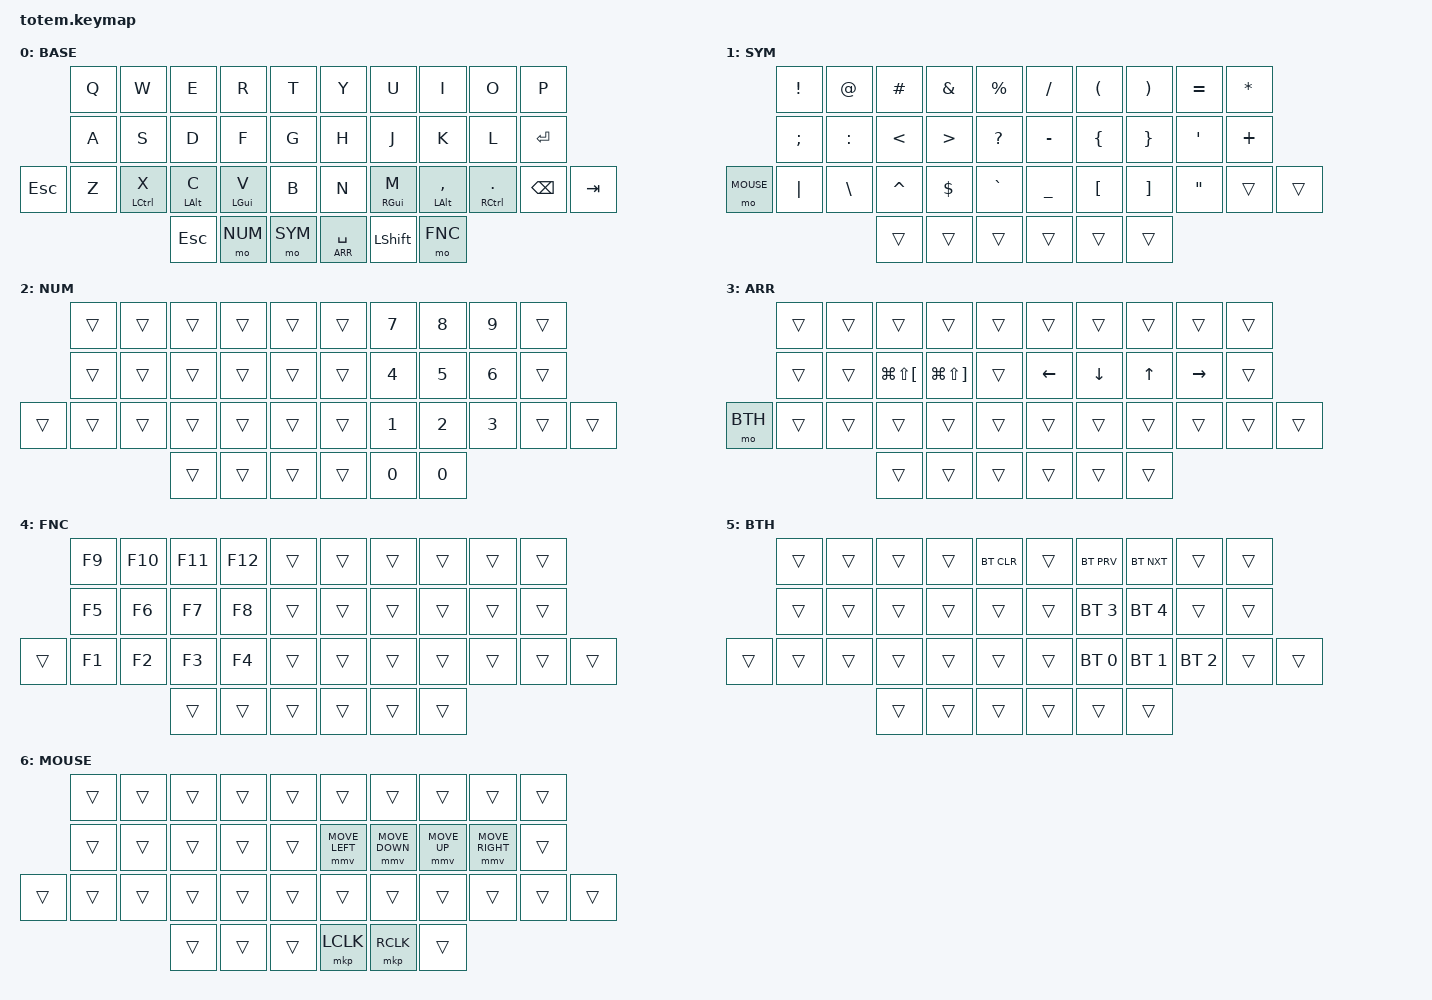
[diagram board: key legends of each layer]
//
//                                                        ▀▀▀▀▀     ▀▀▀▀▀          ▀▀█▀▀
//                                                        ▄▀▀▀▄  ▄  ▄▀▀▀▄  ▄  ▄▀▀▀▄  █  ▄▀▀▀▄
//                                                        █   █  █  █   █  █  █   █  █  █   █
//                                                         ▀▀▀   █   ▀▀▀   █   ▀▀▀   ▀   ▀▀▀
//                                                               █      ▄▄▄█▄▄▄    █   █  
//                                                               ▀      █  █  █     █▄█
//                                                             ▀▀▀▀▀    █  █  █      ▀
//                                                                      ▀  ▀  ▀
//
// ▄▄▄▄▄▄▄▄▄▄▄▄▄▄▄▄▄▄▄▄▄▄▄▄▄▄▄▄▄▄▄▄▄▄▄▄▄▄▄▄▄▄▄▄▄▄▄▄▄▄▄▄▄▄▄▄▄▄▄▄▄▄▄▄▄▄▄▄▄▄▄▄▄▄▄▄▄▄▄▄▄▄▄▄▄▄▄▄▄▄▄▄▄▄▄▄▄▄▄▄▄▄▄▄▄▄▄▄▄▄▄▄▄▄▄▄▄▄▄▄▄▄▄▄▄▄▄▄▄▄▄▄▄▄▄▄▄▄▄▄▄▄▄▄▄▄▄▄▄
       

#include <behaviors.dtsi>
#include <dt-bindings/zmk/keys.h>
#include <dt-bindings/zmk/bt.h>
#include <dt-bindings/zmk/outputs.h>
#include <dt-bindings/zmk/mouse.h>

#define BASE 0
#define SYM  1
#define NUM  2
#define ARR  3
#define FNC  4
#define BTH  5
#define MOUSE 6


&mt {
  quick-tap-ms = <100>;
  global-quick-tap;
  flavor = "tap-preferred";
  tapping-term-ms = <170>;
};

/ {
    combos {
            compatible = "zmk,combos";
            combo_esc {
                timeout-ms = <50>;
                key-positions = <0 1>;
                bindings = <&kp ESC>;
            };
    };

    macros {
        gif: gif {
            label = "giphy";
            compatible = "zmk,behavior-macro";
            #binding-cells = <0>;
            bindings
                = <&macro_press &kp LSHFT>
                , <&macro_tap &kp N2>
                , <&macro_release &kp LSHFT>
                , <&macro_tap &kp G &kp I &kp F>
                ;
        };
    };

        keymap {
                compatible = "zmk,keymap";
// ▄▄▄▄▄▄▄▄▄▄▄▄▄▄▄▄▄▄▄▄▄▄▄▄▄▄▄▄▄▄▄▄▄▄▄▄▄▄▄▄▄▄▄▄▄▄▄▄▄▄▄▄▄▄▄▄▄▄▄▄▄▄▄▄▄▄▄▄▄▄▄▄▄▄▄▄▄▄▄▄▄▄▄▄▄▄▄▄▄▄▄▄▄▄▄▄▄▄▄▄▄▄▄▄▄▄▄▄▄▄▄▄▄▄▄▄▄▄▄▄▄▄▄▄▄▄▄▄▄▄▄▄▄▄▄▄▄▄▄▄▄▄▄▄▄▄▄▄▄

                base_layer {
// ┏━━━━━━━━━━━━━━━━━━━━━━━━━━━━━━━━━━━━━━━┓
label= "BASE"                              ;
// ┗━━━━━━━━━━━━━━━━━━━━━━━━━━━━━━━━━━━━━━━┛
//             ┏━━━━━━━━━━━┳━━━━━━━━━━━┳━━━━━━━━━━━┳━━━━━━━━━━━┳━━━━━━━━━━━┓   ┏━━━━━━━━━━━┳━━━━━━━━━━━┳━━━━━━━━━━━┳━━━━━━━━━━━┳━━━━━━━━━━━┓
//             ┃     Q     ┃     W     ┃     F     ┃     P     ┃     G     ┃   ┃     J     ┃     L     ┃     U     ┃     Y     ┃     ;     ┃
//             ┣━━━━━━━━━━━╋━━━━━━━━━━━╋━━━━━━━━━━━╋━━━━━━━━━━━╋━━━━━━━━━━━┫   ┣━━━━━━━━━━━╋━━━━━━━━━━━╋━━━━━━━━━━━╋━━━━━━━━━━━╋━━━━━━━━━━━┫
//             ┃     A     ┃     R     ┃     S     ┃     T     ┃     D     ┃   ┃     H     ┃     N     ┃     E     ┃     I     ┃     O     ┃
// ┏━━━━━━━━━━━╋━━━━━━━━━━━╋━━━━━━━━━━━╋━━━━━━━━━━━╋━━━━━━━━━━━╋━━━━━━━━━━━┫   ┣━━━━━━━━━━━╋━━━━━━━━━━━╋━━━━━━━━━━━╋━━━━━━━━━━━╋━━━━━━━━━━━╋━━━━━━━━━━━┓
// ┃           ┃     Z     ┃     X     ┃     C     ┃     V     ┃     B     ┃   ┃     K     ┃     M     ┃     ,     ┃     .     ┃     /     ┃           ┃
// ┗━━━━━━━━━━━┻━━━━━━━━━━━┻━━━━━━━━━━━╋━━━━━━━━━━━╋━━━━━━━━━━━╋━━━━━━━━━━━┫   ┣━━━━━━━━━━━╋━━━━━━━━━━━╋━━━━━━━━━━━╋━━━━━━━━━━━┻━━━━━━━━━━━┻━━━━━━━━━━━┛
//                                     ┃           ┃    TAB    ┃    SPC    ┃   ┃   ENTER   ┃   BSPC    ┃           ┃
//                                     ┗━━━━━━━━━━━┻━━━━━━━━━━━┻━━━━━━━━━━━┛   ┗━━━━━━━━━━━┻━━━━━━━━━━━┻━━━━━━━━━━━┛
 bindings = <
// ╷           ╷           ╷           ╷           ╷           ╷           ╷   ╷           ╷           ╷           ╷           ╷           ╷           ╷

                &kp Q       &kp W       &kp E       &kp R       &kp T           &kp Y       &kp U       &kp I       &kp O       &kp P
                &kp A       &kp S       &kp D       &kp F       &kp G           &kp H       &kp J       &kp K       &kp L       &kp RET    
    &kp ESC     &kp Z       &mt LCTRL X &mt LALT C  &mt LGUI V  &kp B           &kp N       &mt RGUI M  &mt LALT COMMA &mt RCTRL DOT  &kp BSPC  &kp TAB
                                        &kp ESC     &mo NUM     &mo SYM         &lt ARR SPACE  &kp LSHFT  &mo FNC
                        >;
                };

// ▄▄▄▄▄▄▄▄▄▄▄▄▄▄▄▄▄▄▄▄▄▄▄▄▄▄▄▄▄▄▄▄▄▄▄▄▄▄▄▄▄▄▄▄▄▄▄▄▄▄▄▄▄▄▄▄▄▄▄▄▄▄▄▄▄▄▄▄▄▄▄▄▄▄▄▄▄▄▄▄▄▄▄▄▄▄▄▄▄▄▄▄▄▄▄▄▄▄▄▄▄▄▄▄▄▄▄▄▄▄▄▄▄▄▄▄▄▄▄▄▄▄▄▄▄▄▄▄▄▄▄▄▄▄▄▄▄▄▄▄▄▄▄▄▄▄▄▄▄


                sym_layer {
// ┏━━━━━━━━━━━━━━━━━━━━━━━━━━━━━━━━━━━━━━━┓
label= "SYM"                              ;
// ┗━━━━━━━━━━━━━━━━━━━━━━━━━━━━━━━━━━━━━━━┛
//             ┏━━━━━━━━━━━┳━━━━━━━━━━━┳━━━━━━━━━━━┳━━━━━━━━━━━┳━━━━━━━━━━━┓   ┏━━━━━━━━━━━┳━━━━━━━━━━━┳━━━━━━━━━━━┳━━━━━━━━━━━┳━━━━━━━━━━━┓
//             ┃           ┃           ┃     UP    ┃           ┃     {     ┃   ┃     }     ┃     7     ┃     8     ┃     9     ┃     +     ┃
//             ┣━━━━━━━━━━━╋━━━━━━━━━━━╋━━━━━━━━━━━╋━━━━━━━━━━━╋━━━━━━━━━━━┫   ┣━━━━━━━━━━━╋━━━━━━━━━━━╋━━━━━━━━━━━╋━━━━━━━━━━━╋━━━━━━━━━━━┫
//             ┃   SHIFT   ┃   LEFT    ┃    DOWN   ┃   RIGHT   ┃     [     ┃   ┃     ]     ┃     4     ┃     5     ┃     6     ┃     -     ┃
// ┏━━━━━━━━━━━╋━━━━━━━━━━━╋━━━━━━━━━━━╋━━━━━━━━━━━╋━━━━━━━━━━━╋━━━━━━━━━━━┫   ┣━━━━━━━━━━━╋━━━━━━━━━━━╋━━━━━━━━━━━╋━━━━━━━━━━━╋━━━━━━━━━━━╋━━━━━━━━━━━┓
// ┃           ┃           ┃   P UP    ┃  C LOCK   ┃  P DOWN   ┃     (     ┃   ┃     )     ┃     1     ┃     2     ┃     3     ┃     *     ┃           ┃
// ┗━━━━━━━━━━━┻━━━━━━━━━━━┻━━━━━━━━━━━╋━━━━━━━━━━━╋━━━━━━━━━━━╋━━━━━━━━━━━┫   ┣━━━━━━━━━━━╋━━━━━━━━━━━╋━━━━━━━━━━━╋━━━━━━━━━━━┻━━━━━━━━━━━┻━━━━━━━━━━━┛
//                                     ┃           ┃    TAB    ┃    SPC    ┃   ┃    DEL    ┃     0     ┃           ┃
//                                     ┗━━━━━━━━━━━┻━━━━━━━━━━━┻━━━━━━━━━━━┛   ┗━━━━━━━━━━━┻━━━━━━━━━━━┻━━━━━━━━━━━┛
 bindings = <
// ╷           ╷           ╷           ╷           ╷           ╷           ╷   ╷           ╷           ╷           ╷           ╷           ╷           ╷

                &kp EXCL    &kp AT      &kp HASH    &kp AMPS    &kp PRCNT       &kp SLASH   &kp LPAR    &kp RPAR    &kp EQUAL   &kp ASTRK
                &kp SEMI    &kp COLON   &kp LT      &kp GT      &kp QMARK       &kp MINUS   &kp LBRC    &kp RBRC    &kp SQT     &kp PLUS
    &mo MOUSE   &kp PIPE    &kp BSLH    &kp CARET   &kp DLLR    &kp GRAVE       &kp UNDER   &kp LBKT    &kp RBKT    &kp DQT   &trans    &trans      
                                        &trans      &trans      &trans          &trans     &trans   &trans      
                        >;
                };

// ▄▄▄▄▄▄▄▄▄▄▄▄▄▄▄▄▄▄▄▄▄▄▄▄▄▄▄▄▄▄▄▄▄▄▄▄▄▄▄▄▄▄▄▄▄▄▄▄▄▄▄▄▄▄▄▄▄▄▄▄▄▄▄▄▄▄▄▄▄▄▄▄▄▄▄▄▄▄▄▄▄▄▄▄▄▄▄▄▄▄▄▄▄▄▄▄▄▄▄▄▄▄▄▄▄▄▄▄▄▄▄▄▄▄▄▄▄▄▄▄▄▄▄▄▄▄▄▄▄▄▄▄▄▄▄▄▄▄▄▄▄▄▄▄▄▄▄▄▄


                num_layer {
// ┏━━━━━━━━━━━━━━━━━━━━━━━━━━━━━━━━━━━━━━━┓
label= "NUM"                               ;
// ┗━━━━━━━━━━━━━━━━━━━━━━━━━━━━━━━━━━━━━━━┛
//             ┏━━━━━━━━━━━┳━━━━━━━━━━━┳━━━━━━━━━━━┳━━━━━━━━━━━┳━━━━━━━━━━━┓   ┏━━━━━━━━━━━┳━━━━━━━━━━━┳━━━━━━━━━━━┳━━━━━━━━━━━┳━━━━━━━━━━━┓
//             ┃     !     ┃     @     ┃     #     ┃     $     ┃     %     ┃   ┃     ˆ     ┃     &     ┃     Ü     ┃     '     ┃     "     ┃
//             ┣━━━━━━━━━━━╋━━━━━━━━━━━╋━━━━━━━━━━━╋━━━━━━━━━━━╋━━━━━━━━━━━┫   ┣━━━━━━━━━━━╋━━━━━━━━━━━╋━━━━━━━━━━━╋━━━━━━━━━━━╋━━━━━━━━━━━┫
//             ┃     Ä     ┃           ┃    SZ     ┃           ┃           ┃   ┃   MUTE    ┃   YEN     ┃   EURO    ┃  POUND    ┃     Ö     ┃
// ┏━━━━━━━━━━━╋━━━━━━━━━━━╋━━━━━━━━━━━╋━━━━━━━━━━━╋━━━━━━━━━━━╋━━━━━━━━━━━┫   ┣━━━━━━━━━━━╋━━━━━━━━━━━╋━━━━━━━━━━━╋━━━━━━━━━━━╋━━━━━━━━━━━╋━━━━━━━━━━━┓
// ┃           ┃  EMAIL1   ┃  EMAIL2   ┃           ┃           ┃           ┃   ┃   VOL-    ┃   VOL+    ┃   LAST    ┃   NEXT    ┃     \     ┃           ┃
// ┗━━━━━━━━━━━┻━━━━━━━━━━━┻━━━━━━━━━━━╋━━━━━━━━━━━╋━━━━━━━━━━━╋━━━━━━━━━━━┫   ┣━━━━━━━━━━━╋━━━━━━━━━━━╋━━━━━━━━━━━╋━━━━━━━━━━━┻━━━━━━━━━━━┻━━━━━━━━━━━┛
//                                     ┃           ┃    GIF    ┃    ADJ    ┃   ┃           ┃           ┃           ┃
//                                     ┗━━━━━━━━━━━┻━━━━━━━━━━━┻━━━━━━━━━━━┛   ┗━━━━━━━━━━━┻━━━━━━━━━━━┻━━━━━━━━━━━┛
 bindings = <
// ╷           ╷           ╷           ╷           ╷           ╷           ╷   ╷           ╷           ╷           ╷           ╷           ╷           ╷

                &trans      &trans      &trans    &trans            &trans        &trans      &kp N7          &kp N8      &kp N9      &trans       
                &trans      &trans      &trans    &trans            &trans        &trans      &kp N4          &kp N5      &kp N6      &trans   
    &trans      &trans      &trans      &trans    &trans            &trans        &trans      &kp N1          &kp N2      &kp N3      &trans   &trans         
                                        &trans    &trans            &trans        &trans      &kp N0          &kp N0      
                        >;
                };

// ▄▄▄▄▄▄▄▄▄▄▄▄▄▄▄▄▄▄▄▄▄▄▄▄▄▄▄▄▄▄▄▄▄▄▄▄▄▄▄▄▄▄▄▄▄▄▄▄▄▄▄▄▄▄▄▄▄▄▄▄▄▄▄▄▄▄▄▄▄▄▄▄▄▄▄▄▄▄▄▄▄▄▄▄▄▄▄▄▄▄▄▄▄▄▄▄▄▄▄▄▄▄▄▄▄▄▄▄▄▄▄▄▄▄▄▄▄▄▄▄▄▄▄▄▄▄▄▄▄▄▄▄▄▄▄▄▄▄▄▄▄▄▄▄▄▄▄▄▄


                arr_layer {
// ┏━━━━━━━━━━━━━━━━━━━━━━━━━━━━━━━━━━━━━━━┓
label= "ARR"                               ;
// ┗━━━━━━━━━━━━━━━━━━━━━━━━━━━━━━━━━━━━━━━┛
//             ┏━━━━━━━━━━━┳━━━━━━━━━━━┳━━━━━━━━━━━┳━━━━━━━━━━━┳━━━━━━━━━━━┓   ┏━━━━━━━━━━━┳━━━━━━━━━━━┳━━━━━━━━━━━┳━━━━━━━━━━━┳━━━━━━━━━━━┓
//             ┃     !     ┃     @     ┃     #     ┃     $     ┃     %     ┃   ┃     ˆ     ┃     &     ┃     Ü     ┃     '     ┃     "     ┃
//             ┣━━━━━━━━━━━╋━━━━━━━━━━━╋━━━━━━━━━━━╋━━━━━━━━━━━╋━━━━━━━━━━━┫   ┣━━━━━━━━━━━╋━━━━━━━━━━━╋━━━━━━━━━━━╋━━━━━━━━━━━╋━━━━━━━━━━━┫
//             ┃     Ä     ┃           ┃    SZ     ┃           ┃           ┃   ┃   MUTE    ┃   YEN     ┃   EURO    ┃  POUND    ┃     Ö     ┃
// ┏━━━━━━━━━━━╋━━━━━━━━━━━╋━━━━━━━━━━━╋━━━━━━━━━━━╋━━━━━━━━━━━╋━━━━━━━━━━━┫   ┣━━━━━━━━━━━╋━━━━━━━━━━━╋━━━━━━━━━━━╋━━━━━━━━━━━╋━━━━━━━━━━━╋━━━━━━━━━━━┓
// ┃           ┃  EMAIL1   ┃  EMAIL2   ┃           ┃           ┃           ┃   ┃   VOL-    ┃   VOL+    ┃   LAST    ┃   NEXT    ┃     \     ┃           ┃
// ┗━━━━━━━━━━━┻━━━━━━━━━━━┻━━━━━━━━━━━╋━━━━━━━━━━━╋━━━━━━━━━━━╋━━━━━━━━━━━┫   ┣━━━━━━━━━━━╋━━━━━━━━━━━╋━━━━━━━━━━━╋━━━━━━━━━━━┻━━━━━━━━━━━┻━━━━━━━━━━━┛
//                                     ┃           ┃    GIF    ┃    ADJ    ┃   ┃           ┃           ┃           ┃
//                                     ┗━━━━━━━━━━━┻━━━━━━━━━━━┻━━━━━━━━━━━┛   ┗━━━━━━━━━━━┻━━━━━━━━━━━┻━━━━━━━━━━━┛
 bindings = <
// ╷           ╷           ╷           ╷           ╷           ╷           ╷   ╷           ╷           ╷           ╷           ╷           ╷           ╷

                &trans      &trans      &trans              &trans            &trans        &trans      &trans          &trans      &trans      &trans       
                &trans      &trans      &kp LG(LS(LBKT))    &kp LG(LS(RBKT))  &trans        &kp LEFT    &kp DOWN        &kp UP      &kp RIGHT   &trans   
    &mo BTH     &trans      &trans      &trans              &trans            &trans        &trans      &trans          &trans      &trans      &trans   &trans         
                                        &trans              &trans            &trans        &trans      &trans          &trans      
                        >;
                };

// ▄▄▄▄▄▄▄▄▄▄▄▄▄▄▄▄▄▄▄▄▄▄▄▄▄▄▄▄▄▄▄▄▄▄▄▄▄▄▄▄▄▄▄▄▄▄▄▄▄▄▄▄▄▄▄▄▄▄▄▄▄▄▄▄▄▄▄▄▄▄▄▄▄▄▄▄▄▄▄▄▄▄▄▄▄▄▄▄▄▄▄▄▄▄▄▄▄▄▄▄▄▄▄▄▄▄▄▄▄▄▄▄▄▄▄▄▄▄▄▄▄▄▄▄▄▄▄▄▄▄▄▄▄▄▄▄▄▄▄▄▄▄▄▄▄▄▄▄▄


                fnc_layer {
// ┏━━━━━━━━━━━━━━━━━━━━━━━━━━━━━━━━━━━━━━━┓
label= "FNC"                               ;
// ┗━━━━━━━━━━━━━━━━━━━━━━━━━━━━━━━━━━━━━━━┛
//             ┏━━━━━━━━━━━┳━━━━━━━━━━━┳━━━━━━━━━━━┳━━━━━━━━━━━┳━━━━━━━━━━━┓   ┏━━━━━━━━━━━┳━━━━━━━━━━━┳━━━━━━━━━━━┳━━━━━━━━━━━┳━━━━━━━━━━━┓
//             ┃   RESET   ┃ BT CLEAR  ┃  OUT TOG  ┃           ┃           ┃   ┃           ┃    F7     ┃    F8     ┃    F9     ┃    F12    ┃
//             ┣━━━━━━━━━━━╋━━━━━━━━━━━╋━━━━━━━━━━━╋━━━━━━━━━━━╋━━━━━━━━━━━┫   ┣━━━━━━━━━━━╋━━━━━━━━━━━╋━━━━━━━━━━━╋━━━━━━━━━━━╋━━━━━━━━━━━┫
//             ┃ BOOTLOAD  ┃ BT NEXT   ┃           ┃           ┃           ┃   ┃           ┃    F4     ┃    F5     ┃    F6     ┃    F11    ┃
// ┏━━━━━━━━━━━╋━━━━━━━━━━━╋━━━━━━━━━━━╋━━━━━━━━━━━╋━━━━━━━━━━━╋━━━━━━━━━━━┫   ┣━━━━━━━━━━━╋━━━━━━━━━━━╋━━━━━━━━━━━╋━━━━━━━━━━━╋━━━━━━━━━━━╋━━━━━━━━━━━┓
// ┃           ┃           ┃ BT PREV   ┃           ┃           ┃           ┃   ┃           ┃    F1     ┃    F2     ┃    F3     ┃    F10    ┃           ┃
// ┗━━━━━━━━━━━┻━━━━━━━━━━━┻━━━━━━━━━━━╋━━━━━━━━━━━╋━━━━━━━━━━━╋━━━━━━━━━━━┫   ┣━━━━━━━━━━━╋━━━━━━━━━━━╋━━━━━━━━━━━╋━━━━━━━━━━━┻━━━━━━━━━━━┻━━━━━━━━━━━┛
//                                     ┃           ┃           ┃           ┃   ┃           ┃           ┃           ┃
//                                     ┗━━━━━━━━━━━┻━━━━━━━━━━━┻━━━━━━━━━━━┛   ┗━━━━━━━━━━━┻━━━━━━━━━━━┻━━━━━━━━━━━┛
 bindings = <
// ╷           ╷           ╷           ╷           ╷           ╷           ╷   ╷           ╷           ╷           ╷           ╷           ╷           ╷

                &kp F9      &kp F10     &kp F11     &kp F12     &trans          &trans      &trans          &trans      &trans          &trans
                &kp F5      &kp F6      &kp F7      &kp F8      &trans          &trans      &trans          &trans      &trans          &trans  
    &trans      &kp F1      &kp F2      &kp F3      &kp F4      &trans          &trans      &trans          &trans      &trans          &trans     &trans         
                                        &trans      &trans      &trans          &trans      &trans          &trans      
                        >;
                };

// ▄▄▄▄▄▄▄▄▄▄▄▄▄▄▄▄▄▄▄▄▄▄▄▄▄▄▄▄▄▄▄▄▄▄▄▄▄▄▄▄▄▄▄▄▄▄▄▄▄▄▄▄▄▄▄▄▄▄▄▄▄▄▄▄▄▄▄▄▄▄▄▄▄▄▄▄▄▄▄▄▄▄▄▄▄▄▄▄▄▄▄▄▄▄▄▄▄▄▄▄▄▄▄▄▄▄▄▄▄▄▄▄▄▄▄▄▄▄▄▄▄▄▄▄▄▄▄▄▄▄▄▄▄▄▄▄▄▄▄▄▄▄▄▄▄▄▄▄▄


                bth_layer {
// ┏━━━━━━━━━━━━━━━━━━━━━━━━━━━━━━━━━━━━━━━┓
label= "BTH"                               ;
// ┗━━━━━━━━━━━━━━━━━━━━━━━━━━━━━━━━━━━━━━━┛
//             ┏━━━━━━━━━━━┳━━━━━━━━━━━┳━━━━━━━━━━━┳━━━━━━━━━━━┳━━━━━━━━━━━┓   ┏━━━━━━━━━━━┳━━━━━━━━━━━┳━━━━━━━━━━━┳━━━━━━━━━━━┳━━━━━━━━━━━┓
//             ┃   RESET   ┃ BT CLEAR  ┃  OUT TOG  ┃           ┃           ┃   ┃           ┃    F7     ┃    F8     ┃    F9     ┃    F12    ┃
//             ┣━━━━━━━━━━━╋━━━━━━━━━━━╋━━━━━━━━━━━╋━━━━━━━━━━━╋━━━━━━━━━━━┫   ┣━━━━━━━━━━━╋━━━━━━━━━━━╋━━━━━━━━━━━╋━━━━━━━━━━━╋━━━━━━━━━━━┫
//             ┃ BOOTLOAD  ┃ BT NEXT   ┃           ┃           ┃           ┃   ┃           ┃    F4     ┃    F5     ┃    F6     ┃    F11    ┃
// ┏━━━━━━━━━━━╋━━━━━━━━━━━╋━━━━━━━━━━━╋━━━━━━━━━━━╋━━━━━━━━━━━╋━━━━━━━━━━━┫   ┣━━━━━━━━━━━╋━━━━━━━━━━━╋━━━━━━━━━━━╋━━━━━━━━━━━╋━━━━━━━━━━━╋━━━━━━━━━━━┓
// ┃           ┃           ┃ BT PREV   ┃           ┃           ┃           ┃   ┃           ┃    F1     ┃    F2     ┃    F3     ┃    F10    ┃           ┃
// ┗━━━━━━━━━━━┻━━━━━━━━━━━┻━━━━━━━━━━━╋━━━━━━━━━━━╋━━━━━━━━━━━╋━━━━━━━━━━━┫   ┣━━━━━━━━━━━╋━━━━━━━━━━━╋━━━━━━━━━━━╋━━━━━━━━━━━┻━━━━━━━━━━━┻━━━━━━━━━━━┛
//                                     ┃           ┃           ┃           ┃   ┃           ┃           ┃           ┃
//                                     ┗━━━━━━━━━━━┻━━━━━━━━━━━┻━━━━━━━━━━━┛   ┗━━━━━━━━━━━┻━━━━━━━━━━━┻━━━━━━━━━━━┛
 bindings = <
// ╷           ╷           ╷           ╷           ╷           ╷           ╷   ╷           ╷           ╷           ╷           ╷           ╷           ╷

                &trans      &trans          &trans      &trans      &bt BT_CLR      &trans      &bt BT_PRV      &bt BT_NXT        &trans          &trans
                &trans      &trans          &trans      &trans      &trans          &trans      &bt BT_SEL 3    &bt BT_SEL 4      &trans          &trans
    &trans      &trans      &trans          &trans      &trans      &trans          &trans      &bt BT_SEL 0    &bt BT_SEL 1      &bt BT_SEL 2    &trans     &trans
                                            &trans      &trans      &trans          &trans      &trans      &trans
                        >;
                };

// ▄▄▄▄▄▄▄▄▄▄▄▄▄▄▄▄▄▄▄▄▄▄▄▄▄▄▄▄▄▄▄▄▄▄▄▄▄▄▄▄▄▄▄▄▄▄▄▄▄▄▄▄▄▄▄▄▄▄▄▄▄▄▄▄▄▄▄▄▄▄▄▄▄▄▄▄▄▄▄▄▄▄▄▄▄▄▄▄▄▄▄▄▄▄▄▄▄▄▄▄▄▄▄▄▄▄▄▄▄▄▄▄▄▄▄▄▄▄▄▄▄▄▄▄▄▄▄▄▄▄▄▄▄▄▄▄▄▄▄▄▄▄▄▄▄▄▄▄▄

                mouse_layer {
// ┏━━━━━━━━━━━━━━━━━━━━━━━━━━━━━━━━━━━━━━━┓
label= "MOUSE"                             ;
// ┗━━━━━━━━━━━━━━━━━━━━━━━━━━━━━━━━━━━━━━━┛
//             ┏━━━━━━━━━━━┳━━━━━━━━━━━┳━━━━━━━━━━━┳━━━━━━━━━━━┳━━━━━━━━━━━┓   ┏━━━━━━━━━━━┳━━━━━━━━━━━┳━━━━━━━━━━━┳━━━━━━━━━━━┳━━━━━━━━━━━┓
//             ┃           ┃           ┃           ┃           ┃           ┃   ┃           ┃           ┃   M UP    ┃           ┃           ┃
//             ┣━━━━━━━━━━━╋━━━━━━━━━━━╋━━━━━━━━━━━╋━━━━━━━━━━━╋━━━━━━━━━━━┫   ┣━━━━━━━━━━━╋━━━━━━━━━━━╋━━━━━━━━━━━╋━━━━━━━━━━━╋━━━━━━━━━━━┫
//             ┃           ┃           ┃           ┃           ┃           ┃   ┃           ┃  M LEFT   ┃  M DOWN   ┃  M RIGHT  ┃           ┃
// ┏━━━━━━━━━━━╋━━━━━━━━━━━╋━━━━━━━━━━━╋━━━━━━━━━━━╋━━━━━━━━━━━╋━━━━━━━━━━━┫   ┣━━━━━━━━━━━╋━━━━━━━━━━━╋━━━━━━━━━━━╋━━━━━━━━━━━╋━━━━━━━━━━━╋━━━━━━━━━━━┓
// ┃           ┃           ┃           ┃           ┃           ┃           ┃   ┃           ┃           ┃           ┃           ┃           ┃           ┃
// ┗━━━━━━━━━━━┻━━━━━━━━━━━┻━━━━━━━━━━━╋━━━━━━━━━━━╋━━━━━━━━━━━╋━━━━━━━━━━━┫   ┣━━━━━━━━━━━╋━━━━━━━━━━━╋━━━━━━━━━━━╋━━━━━━━━━━━┻━━━━━━━━━━━┻━━━━━━━━━━━┛
//                                     ┃           ┃           ┃           ┃   ┃  L CLICK  ┃  R CLICK  ┃           ┃
//                                     ┗━━━━━━━━━━━┻━━━━━━━━━━━┻━━━━━━━━━━━┛   ┗━━━━━━━━━━━┻━━━━━━━━━━━┻━━━━━━━━━━━┛
 bindings = <
// ╷           ╷           ╷           ╷           ╷           ╷           ╷   ╷           ╷           ╷           ╷           ╷           ╷           ╷

                &trans      &trans      &trans      &trans      &trans          &trans          &trans          &trans        &trans          &trans
                &trans      &trans      &trans      &trans      &trans          &mmv MOVE_LEFT  &mmv MOVE_DOWN  &mmv MOVE_UP  &mmv MOVE_RIGHT &trans
    &trans      &trans      &trans      &trans      &trans      &trans          &trans          &trans          &trans        &trans          &trans  &trans
                                        &trans      &trans      &trans          &mkp LCLK       &mkp RCLK       &trans
                        >;
                };
        };
};
